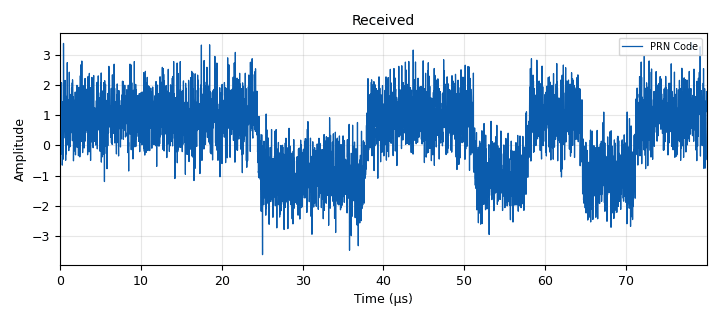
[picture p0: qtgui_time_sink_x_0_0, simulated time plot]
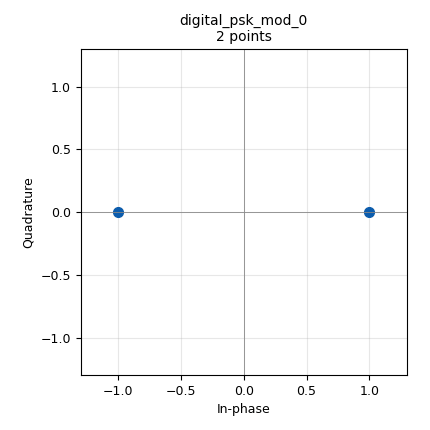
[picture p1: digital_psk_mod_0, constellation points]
<?xml version='1.0' encoding='utf-8'?>
<?grc format='1' created='3.7.10'?>
<flow_graph>
<block>
<key>options</key>
<param><key>id</key><value>top_block</value></param>
<param><key>generate_options</key><value>qt_gui</value></param>
</block>
<block>
<key>variable</key>
<param><key>id</key><value>code_rate</value></param>
<param><key>value</key><value>1.2e6</value></param>
</block>
<block>
<key>variable</key>
<param><key>id</key><value>distance</value></param>
<param><key>value</key><value>1000</value></param>
</block>
<block>
<key>variable</key>
<param><key>id</key><value>samp_rate</value></param>
<param><key>value</key><value>code_rate * 50</value></param>
</block>
<block>
<key>blocks_complex_to_real</key>
<param><key>id</key><value>blocks_complex_to_real_0</value></param>
</block>
<block>
<key>blocks_complex_to_real</key>
<param><key>id</key><value>blocks_complex_to_real_0_0</value></param>
<param><key>_enabled</key><value>0</value></param>
</block>
<block>
<key>blocks_delay</key>
<param><key>id</key><value>blocks_delay_0</value></param>
<param><key>delay</key><value>int(math.ceil((distance / 3e8) * samp_rate))</value></param>
<param><key>type</key><value>complex</value></param>
</block>
<block>
<key>blocks_int_to_float</key>
<param><key>id</key><value>blocks_int_to_float_0</value></param>
<param><key>scale</key><value>1 / (3e8 / samp_rate)</value></param>
</block>
<block>
<key>blocks_throttle</key>
<param><key>id</key><value>blocks_throttle_0</value></param>
<param><key>samples_per_second</key><value>320e3</value></param>
<param><key>type</key><value>complex</value></param>
</block>
<block>
<key>blocks_vector_source_x</key>
<param><key>id</key><value>blocks_vector_source_x_0</value></param>
<param><key>alias</key><value>PRBS5 (x^5 + x^3 + 1)</value></param>
<param><key>type</key><value>byte</value></param>
<param><key>repeat</key><value>True</value></param>
<param><key>vector</key><value>(1,0,1,0,1,1,1,1,0,0,0,0)</value></param>
</block>
<block>
<key>channels_channel_model</key>
<param><key>id</key><value>channels_channel_model_0</value></param>
<param><key>epsilon</key><value>1.0</value></param>
<param><key>freq_offset</key><value>0.0</value></param>
<param><key>noise_voltage</key><value>1</value></param>
<param><key>seed</key><value>0</value></param>
<param><key>taps</key><value>1.0</value></param>
</block>
<block>
<key>correlator</key>
<param><key>id</key><value>correlator_0</value></param>
<param><key>frequency</key><value>int(code_rate / 12)</value></param>
<param><key>int_mult</key><value>4</value></param>
<param><key>samp_rate</key><value>int(samp_rate)</value></param>
<param><key>poll_rate</key><value>20</value></param>
</block>
<block>
<key>digital_psk_mod</key>
<param><key>id</key><value>digital_psk_mod_0</value></param>
<param><key>differential</key><value>True</value></param>
<param><key>excess_bw</key><value>0.5</value></param>
<param><key>mod_code</key><value>"none"</value></param>
<param><key>constellation_points</key><value>2</value></param>
<param><key>samples_per_symbol</key><value>int(samp_rate / code_rate)</value></param>
</block>
<block>
<key>import</key>
<param><key>id</key><value>import_0</value></param>
<param><key>import</key><value>import math</value></param>
</block>
<block>
<key>qtgui_time_sink_x</key>
<param><key>id</key><value>qtgui_time_sink_x_0_0</value></param>
<param><key>autoscale</key><value>True</value></param>
<param><key>color1</key><value>"blue"</value></param>
<param><key>label1</key><value>PRN Code</value></param>
<param><key>name</key><value>Received</value></param>
<param><key>size</key><value>4800</value></param>
<param><key>srate</key><value>samp_rate</value></param>
<param><key>type</key><value>float</value></param>
</block>
<block>
<key>qtgui_time_sink_x</key>
<param><key>id</key><value>qtgui_time_sink_x_0_0_0</value></param>
<param><key>autoscale</key><value>True</value></param>
<param><key>color1</key><value>"blue"</value></param>
<param><key>label1</key><value>Distance</value></param>
<param><key>name</key><value>Distance</value></param>
<param><key>size</key><value>100</value></param>
<param><key>srate</key><value>100</value></param>
<param><key>type</key><value>float</value></param>
</block>
<block>
<key>qtgui_time_sink_x</key>
<param><key>id</key><value>qtgui_time_sink_x_0_0_1</value></param>
<param><key>autoscale</key><value>True</value></param>
<param><key>color1</key><value>"blue"</value></param>
<param><key>label1</key><value>Corr Value</value></param>
<param><key>name</key><value>Corr Value</value></param>
<param><key>size</key><value>1024</value></param>
<param><key>srate</key><value>100000</value></param>
<param><key>type</key><value>float</value></param>
</block>
<block>
<key>qtgui_time_sink_x</key>
<param><key>id</key><value>qtgui_time_sink_x_0_0_2</value></param>
<param><key>autoscale</key><value>True</value></param>
<param><key>_enabled</key><value>0</value></param>
<param><key>color1</key><value>"blue"</value></param>
<param><key>label1</key><value>PRN Code</value></param>
<param><key>name</key><value>Received</value></param>
<param><key>size</key><value>4800</value></param>
<param><key>srate</key><value>samp_rate</value></param>
<param><key>type</key><value>float</value></param>
</block>
<connection><source_block_id>blocks_complex_to_real_0</source_block_id><sink_block_id>qtgui_time_sink_x_0_0</sink_block_id><source_key>0</source_key><sink_key>0</sink_key></connection>
<connection><source_block_id>blocks_complex_to_real_0_0</source_block_id><sink_block_id>qtgui_time_sink_x_0_0_2</sink_block_id><source_key>0</source_key><sink_key>0</sink_key></connection>
<connection><source_block_id>blocks_delay_0</source_block_id><sink_block_id>channels_channel_model_0</sink_block_id><source_key>0</source_key><sink_key>0</sink_key></connection>
<connection><source_block_id>blocks_int_to_float_0</source_block_id><sink_block_id>qtgui_time_sink_x_0_0_0</sink_block_id><source_key>0</source_key><sink_key>0</sink_key></connection>
<connection><source_block_id>blocks_throttle_0</source_block_id><sink_block_id>blocks_complex_to_real_0_0</sink_block_id><source_key>0</source_key><sink_key>0</sink_key></connection>
<connection><source_block_id>blocks_throttle_0</source_block_id><sink_block_id>blocks_delay_0</sink_block_id><source_key>0</source_key><sink_key>0</sink_key></connection>
<connection><source_block_id>blocks_throttle_0</source_block_id><sink_block_id>correlator_0</sink_block_id><source_key>0</source_key><sink_key>1</sink_key></connection>
<connection><source_block_id>blocks_vector_source_x_0</source_block_id><sink_block_id>digital_psk_mod_0</sink_block_id><source_key>0</source_key><sink_key>0</sink_key></connection>
<connection><source_block_id>channels_channel_model_0</source_block_id><sink_block_id>blocks_complex_to_real_0</sink_block_id><source_key>0</source_key><sink_key>0</sink_key></connection>
<connection><source_block_id>channels_channel_model_0</source_block_id><sink_block_id>correlator_0</sink_block_id><source_key>0</source_key><sink_key>0</sink_key></connection>
<connection><source_block_id>correlator_0</source_block_id><sink_block_id>qtgui_time_sink_x_0_0_1</sink_block_id><source_key>0</source_key><sink_key>0</sink_key></connection>
<connection><source_block_id>correlator_0</source_block_id><sink_block_id>blocks_int_to_float_0</sink_block_id><source_key>1</source_key><sink_key>0</sink_key></connection>
<connection><source_block_id>digital_psk_mod_0</source_block_id><sink_block_id>blocks_throttle_0</sink_block_id><source_key>0</source_key><sink_key>0</sink_key></connection>
</flow_graph>
